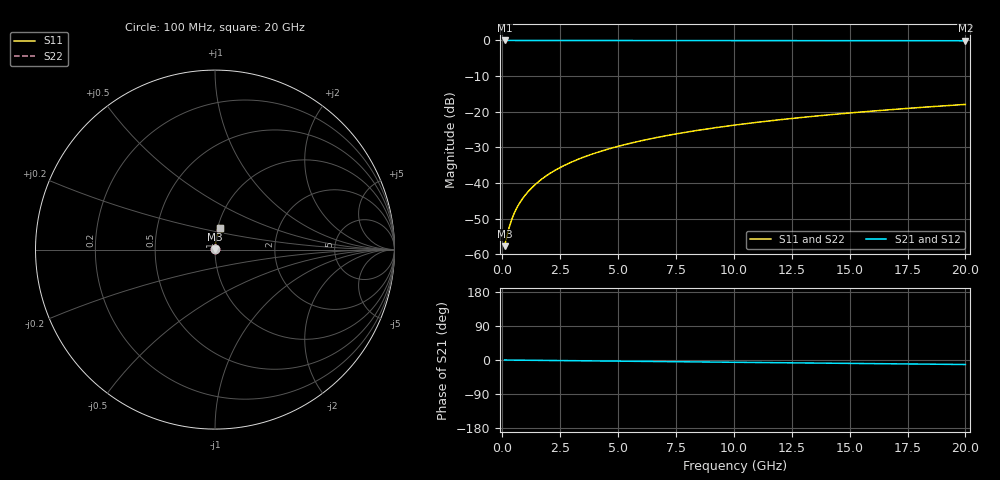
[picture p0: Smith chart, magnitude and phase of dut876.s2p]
! Touchstone file exported from HFSS 2026.1.0
!  File:  C:/ffzhzh/LocalFiles/Ansys_Project_Files/temp_train_BSMRDL_876_1783170984_22436.aedt
!  Generated:  09:17:37 PM Jul  4, 2026
!  Design:  BSMRDL
!  Project:  temp_train_BSMRDL_876_1783170984_22436
! Variables:
!  h_bsmrdl = 2.54um
!  h_ox = 20um
!  h_rdl = 5um
!  h_sub = 80um
!  h_tmrdl = 5um
!  h_tsv = 80um
!  h_via = 3um
!  l_bsmrdl = 127.08um
!  l_sub = 527.08um
!  l_tmrdl = 200um
!  m_sub = 200um
!  pitch = 49.86um
!  r_tsv = 6um
!  s_tmrdl = 10um
!  w_bsmrdl = 24.33um
!  w_sub = 500um
!  w_tmrdl = 12um
!  x_tsv_center1 = 206um
!  x_tsv_center2 = 357.41um
!  x_tsv_center3 = 569.41um
!  x_tsv_center4 = 720.82um
!  x_tsv_center5 = 932.82um
!  x_tsv_center6 = 1084.23um
# GHz S MA R 50.000000
! Terminal data exported
! Port[1] = BSM_RDL1_1_T1
! Port[2] = BSM_RDL1_1_T2
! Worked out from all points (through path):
!   200 points, 100 MHz to 20 GHz, reference 50 ohm
!   highest |S21| = -0.01 dB at 100 MHz (marker M1); lowest = -0.1 dB at 20 GHz (marker M2)
!   group delay of S21, straight-line fit = 1.65 ps
!   lowest |S11| = -57.8 dB at 100 MHz (marker M3), VSWR 1.00, Z = 50.1 + j0.0715 ohm
!   |S11| at or under -10 dB: start of sweep to end of sweep
!   |S22| runs from -57.8 to -18.0 dB; largest |S21 - S12| = 3e-15
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0.1  0.001293 33.5  0.9989 -0.1  0.9989 -0.1  0.001293 33.5
! Gamma 0 0 0 0
! Port Impedance 50 0 50 0
0.2  0.001799 51.9  0.9989 -0.1  0.9989 -0.1  0.001799 51.9
0.3  0.002398 61.2  0.9989 -0.2  0.9989 -0.2  0.002398 61.2
0.4  0.003021 66.6  0.9988 -0.3  0.9988 -0.3  0.003021 66.6
0.5  0.003649 70.0  0.9988 -0.3  0.9988 -0.3  0.003649 70.0
0.6  0.004279 72.5  0.9987 -0.4  0.9987 -0.4  0.004279 72.5
0.8  0.005541 75.8  0.9987 -0.5  0.9987 -0.5  0.005541 75.8
1.1  0.007443 78.8  0.9986 -0.7  0.9986 -0.7  0.007443 78.8
1.3  0.008718 80.1  0.9986 -0.8  0.9986 -0.8  0.008718 80.1
1.6  0.01064 81.4  0.9985 -1.0  0.9985 -1.0  0.01064 81.4
2.1  0.01386 82.8  0.9985 -1.3  0.9985 -1.3  0.01386 82.8
2.7  0.01774 83.6  0.9984 -1.6  0.9984 -1.6  0.01774 83.6
3.5  0.02291 84.0  0.9982 -2.1  0.9982 -2.1  0.02291 84.0
4.2  0.02744 84.1  0.998 -2.5  0.998 -2.5  0.02744 84.1
5  0.0326 84.0  0.9978 -3.0  0.9978 -3.0  0.0326 84.0
5.9  0.0384 83.8  0.9975 -3.6  0.9975 -3.6  0.0384 83.8
6.8  0.04418 83.5  0.9971 -4.1  0.9971 -4.1  0.04418 83.5
8.3  0.05376 82.8  0.9965 -5.0  0.9965 -5.0  0.05376 82.8
10.1  0.06519 81.9  0.9956 -6.1  0.9956 -6.1  0.06519 81.9
13.4  0.08589 80.2  0.9936 -8.0  0.9936 -8.0  0.08589 80.2
16.7  0.1063 78.4  0.9912 -10.0  0.9912 -10.0  0.1063 78.4
20  0.1264 76.5  0.9885 -11.9  0.9885 -11.9  0.1264 76.5
